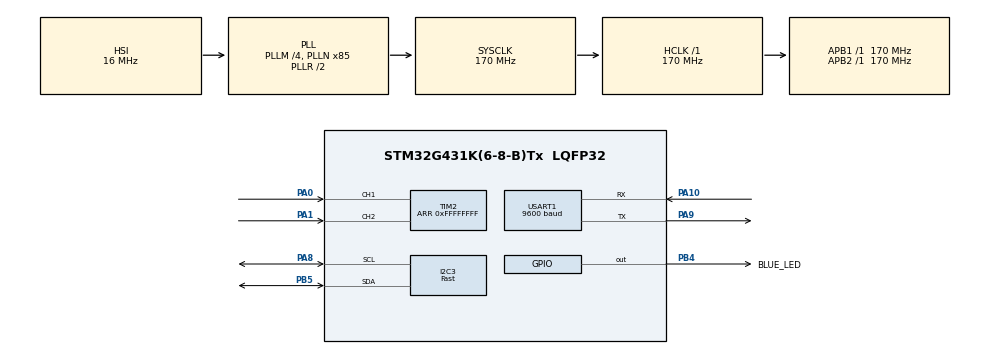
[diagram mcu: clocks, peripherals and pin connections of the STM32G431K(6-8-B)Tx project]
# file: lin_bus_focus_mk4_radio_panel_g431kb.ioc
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Dma.Request0=USART1_RX
Dma.Request1=USART1_TX
Dma.USART1_RX.0.Direction=DMA_PERIPH_TO_MEMORY
Dma.USART1_RX.0.EventEnable=DISABLE
Dma.USART1_RX.0.Instance=DMA1_Channel1
Dma.USART1_RX.0.MemDataAlignment=DMA_MDATAALIGN_BYTE
Dma.USART1_RX.0.MemInc=DMA_MINC_ENABLE
Dma.USART1_RX.0.Mode=DMA_NORMAL
Dma.USART1_RX.0.PeriphDataAlignment=DMA_PDATAALIGN_BYTE
Dma.USART1_RX.0.PeriphInc=DMA_PINC_DISABLE
Dma.USART1_RX.0.Polarity=HAL_DMAMUX_REQ_GEN_RISING
Dma.USART1_RX.0.Priority=DMA_PRIORITY_LOW
Dma.USART1_RX.0.RequestNumber=1
Dma.USART1_RX.0.SignalID=NONE
Dma.USART1_RX.0.SyncEnable=DISABLE
Dma.USART1_RX.0.SyncPolarity=HAL_DMAMUX_SYNC_NO_EVENT
Dma.USART1_RX.0.SyncRequestNumber=1
Dma.USART1_RX.0.SyncSignalID=NONE
Dma.USART1_TX.1.Direction=DMA_MEMORY_TO_PERIPH
Dma.USART1_TX.1.EventEnable=DISABLE
Dma.USART1_TX.1.Instance=DMA1_Channel2
Dma.USART1_TX.1.MemDataAlignment=DMA_MDATAALIGN_BYTE
Dma.USART1_TX.1.MemInc=DMA_MINC_ENABLE
Dma.USART1_TX.1.Mode=DMA_NORMAL
Dma.USART1_TX.1.PeriphDataAlignment=DMA_PDATAALIGN_BYTE
Dma.USART1_TX.1.PeriphInc=DMA_PINC_DISABLE
Dma.USART1_TX.1.Polarity=HAL_DMAMUX_REQ_GEN_RISING
Dma.USART1_TX.1.Priority=DMA_PRIORITY_LOW
Dma.USART1_TX.1.RequestNumber=1
Dma.USART1_TX.1.SignalID=NONE
Dma.USART1_TX.1.SyncEnable=DISABLE
Dma.USART1_TX.1.SyncPolarity=HAL_DMAMUX_SYNC_NO_EVENT
Dma.USART1_TX.1.SyncRequestNumber=1
Dma.USART1_TX.1.SyncSignalID=NONE
I2C3.I2C_Speed_Mode=I2C_Fast
I2C3.Timing=0x40621236
Mcu.Family=STM32G4
Mcu.Name=STM32G431K(6-8-B)Tx
Mcu.Package=LQFP32
NUCLEO-G431KB.Bsp_Common_DEMO=true
NUCLEO-G431KB.LD2=false
NUCLEO-G431KB.VCP=true
NVIC.DMA1_Channel1_IRQn=true\:0\:0\:false\:false\:true\:false\:true\:true
NVIC.DMA1_Channel2_IRQn=true\:0\:0\:false\:false\:true\:false\:true\:true
NVIC.PriorityGroup=NVIC_PRIORITYGROUP_4
NVIC.TIM2_IRQn=true\:0\:0\:false\:false\:true\:true\:true\:true
NVIC.USART1_IRQn=true\:0\:0\:false\:false\:true\:true\:true\:true
PA0.Signal=S_TIM2_CH1
PA1.Signal=S_TIM2_CH2
PA10.GPIO_PuPd=GPIO_PULLUP
PA10.Mode=LIN
PA10.Signal=USART1_RX
PA13.GPIO_Label=T_SWDIO
PA13.Signal=SYS_JTMS-SWDIO
PA14.GPIO_Label=T_SWCLK
PA14.Signal=SYS_JTCK-SWCLK
PA2.Signal=USART2_TX
PA3.Signal=USART2_RX
PA8.Mode=I2C
PA8.Signal=I2C3_SCL
PA9.Mode=LIN
PA9.Signal=USART1_TX
PB3.GPIO_Label=T_SWO
PB3.Signal=SYS_JTDO-SWO
PB4.GPIO_Label=BLUE_LED
PB4.Signal=GPIO_Output
PB5.Mode=I2C
PB5.Signal=I2C3_SDA
ProjectManager.HeapSize=0x200
ProjectManager.StackSize=0x400
ProjectManager.TargetToolchain=STM32CubeIDE
RCC.ADC12Freq_Value=170000000
RCC.AHBFreq_Value=170000000
RCC.APB1Freq_Value=170000000
RCC.APB1TimFreq_Value=170000000
RCC.APB2Freq_Value=170000000
RCC.APB2TimFreq_Value=170000000
RCC.CortexFreq_Value=170000000
RCC.EXTERNAL_CLOCK_VALUE=12288000
RCC.HCLKFreq_Value=170000000
RCC.HSE_VALUE=8000000
RCC.HSI48_VALUE=48000000
RCC.HSI_VALUE=16000000
RCC.LSE_VALUE=32768
RCC.PLLM=RCC_PLLM_DIV4
RCC.PLLN=85
RCC.SYSCLKFreq_VALUE=170000000
RCC.SYSCLKSource=RCC_SYSCLKSOURCE_PLLCLK
RCC.USBFreq_Value=170000000
RCC.VCOOutputFreq_Value=340000000
SH.S_TIM2_CH1.0=TIM2_CH1,Encoder_Interface
SH.S_TIM2_CH2.0=TIM2_CH2,Encoder_Interface
TIM2.CounterMode=TIM_COUNTERMODE_UP
TIM2.EncoderMode=TIM_ENCODERMODE_TI12
TIM2.IC1Filter=15
TIM2.IC2Filter=15
TIM2.PeriodNoDither=0xFFFFFFFF
USART1.BaudRate=9600
USART1.BreakDetectLength=UART_LINBREAKDETECTLENGTH_11B
USART1.VirtualMode-LIN=VM_LIN
VP_NUCLEO-G431KB_VS_BSP_COMMON.Mode=COMMON
VP_SYS_VS_DBSignals.Mode=DisableDeadBatterySignals
board=NUCLEO-G431KB

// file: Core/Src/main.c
/* USER CODE BEGIN Header */
/**
 ******************************************************************************
 * @file           : main.c
 * @brief          : Main program body
 ******************************************************************************
 * @attention
 *
 * Copyright (c) 2025 STMicroelectronics.
 * All rights reserved.
 *
 * This software is licensed under terms that can be found in the LICENSE file
 * in the root directory of this software component.
 * If no LICENSE file comes with this software, it is provided AS-IS.
 *
 ******************************************************************************
 */
/* USER CODE END Header */
#include "main.h"
#include "dma.h"
#include "i2c.h"
#include "tim.h"
#include "usart.h"
#include "gpio.h"

/* USER CODE BEGIN Includes */
#include <stdbool.h>
#include <stddef.h>
#include <stdio.h>
#include <stdlib.h>
#include <string.h>

#include "ssd1306.h"

// https://github.com/nayuki/QR-Code-generator
// https://www.nayuki.io/page/qr-code-generator-library
#include "qrcodegen.h"
/* USER CODE END Includes */

/* USER CODE BEGIN PD */
#define LIN_SEND_PERIOD 50
#define TX_BUFFER_SIZE 6
#define RX_BUFFER_SIZE_A 12
#define RX_BUFFER_SIZE_B 12
#define RX_BUFFER_SIZE_C 12
#define RX_BUFFER_SIZE_D 12

#define TX_LIN_MSG_ID 0x01 // backlight brightness
#define RX_LIN_MSG_ID_A 0x00 // buttons and knobs (repeated?)
#define RX_LIN_MSG_ID_B 0x02 // buttons and knobs
#define RX_LIN_MSG_ID_C 0x04 // counters
#define RX_LIN_MSG_ID_D 0x05 // diagnostics(?)
#define NUMBER_OF_RX_MSGS 4

#define ENC_KNOB_CNT_MIN 0
#define ENC_KNOB_CNT_MAX (255 * 4)

#define UART_SEND_PERIOD 500
#define OLED_UPDATE_PERIOD 250

#define BYTE_TO_BINARY_PATTERN "%c%c%c%c%c%c%c%c"
#define BYTE_TO_BINARY(byte)  \
  ((byte) & 0x80 ? '1' : '0'), \
  ((byte) & 0x40 ? '1' : '0'), \
  ((byte) & 0x20 ? '1' : '0'), \
  ((byte) & 0x10 ? '1' : '0'), \
  ((byte) & 0x08 ? '1' : '0'), \
  ((byte) & 0x04 ? '1' : '0'), \
  ((byte) & 0x02 ? '1' : '0'), \
  ((byte) & 0x01 ? '1' : '0')

/* USER CODE END PD */

COM_InitTypeDef BspCOMInit;

/* USER CODE BEGIN PV */
uint8_t txData[TX_BUFFER_SIZE];
uint8_t rxDataA[RX_BUFFER_SIZE_A];
uint8_t rxDataB[RX_BUFFER_SIZE_B];
uint8_t rxDataBbis[RX_BUFFER_SIZE_B];
uint8_t rxDataC[RX_BUFFER_SIZE_C];
uint8_t rxDataD[RX_BUFFER_SIZE_D];

uint32_t LinSendSoftTimer;

volatile uint8_t lin_data_received_flag = 0;
uint8_t rx_msg_index = 0;

extern DMA_HandleTypeDef hdma_usart1_rx;

char lcd_line[64];
uint8_t backlight_intensity = 0xFF;

uint32_t UartMsgSoftTimer;
uint32_t OledSoftTimer;

/* USER CODE END PV */

void SystemClock_Config(void);
/* USER CODE BEGIN PFP */

// https://controllerstech.com/stm32-uart-8-lin-protocol-part-1/
// https://controllerstech.com/stm32-uart-9-lin-protocol-part-2/
// https://controllerstech.com/stm32-uart-10-lin-protocol-part-3/
uint8_t Pid_Calc(uint8_t ID);
uint8_t Checksum_Calc(uint8_t PID, uint8_t *data, uint8_t size);

static void showPartDatasheet(void);
static void printQr(const uint8_t qrcode[]);
static void displayQr(const uint8_t qrcode[]);

/* USER CODE END PFP */

int main(void)
{

	/* MCU Configuration--------------------------------------------------------*/

	/* Reset of all peripherals, Initializes the Flash interface and the Systick. */
	HAL_Init();

	/* Configure the system clock */
	SystemClock_Config();

	/* Initialize all configured peripherals */
	MX_GPIO_Init();
	MX_DMA_Init();
	MX_USART1_UART_Init();
	MX_TIM2_Init();
	MX_I2C3_Init();
	/* USER CODE BEGIN 2 */

	HAL_TIM_Encoder_Start_IT(&htim2, TIM_CHANNEL_ALL);
	__HAL_TIM_SET_COUNTER(&htim2, ENC_KNOB_CNT_MAX);

	/* USER CODE END 2 */

	/* Initialize COM1 port (115200, 8 bits (7-bit data + 1 stop bit), no parity */
	BspCOMInit.BaudRate = 115200;
	BspCOMInit.WordLength = COM_WORDLENGTH_8B;
	BspCOMInit.StopBits = COM_STOPBITS_1;
	BspCOMInit.Parity = COM_PARITY_NONE;
	BspCOMInit.HwFlowCtl = COM_HWCONTROL_NONE;
	if (BSP_COM_Init(COM1, &BspCOMInit) != BSP_ERROR_NONE)
	{
		Error_Handler();
	}

	/* USER CODE BEGIN BSP */
	ssd1306_Init();

	showPartDatasheet();
	HAL_Delay(1000);

	ssd1306_Fill(Black);
	ssd1306_SetCursor(20, 0);
	ssd1306_WriteString("ufnalski.edu.pl", Font_6x8, White);
	ssd1306_SetCursor(22, 11);
	ssd1306_WriteString("Ford Focus Mk4", Font_6x8, White);
	ssd1306_SetCursor(12, 22);
	ssd1306_WriteString("radio panel (2020)", Font_6x8, White);
	ssd1306_UpdateScreen();

	/* -- Sample board code to send message over COM1 port ---- */
	printf("\r\nWelcome to LIN bus world!\r\n");

	/* USER CODE END BSP */

	/* Infinite loop */
	/* USER CODE BEGIN WHILE */
	LinSendSoftTimer = HAL_GetTick();
	UartMsgSoftTimer = HAL_GetTick();
	OledSoftTimer = HAL_GetTick();

	while (1)
	{

		if ((HAL_GetTick() - UartMsgSoftTimer > UART_SEND_PERIOD)
				&& (lin_data_received_flag == 1))
		{
			lin_data_received_flag = 0;
			UartMsgSoftTimer = HAL_GetTick();
			printf("\x1B[2J\x1B[H");

			printf("\e[36m╔══════════════════════════════════╗\e[37m\r\n");
			printf(
					"\e[36m║ TX: [%02d] %02X %02X %02X                \e[36m║\e[37m\r\n",
					TX_LIN_MSG_ID, txData[2], txData[3], txData[4]);
			printf(
					"\e[36m║ RX: [%02d] %02X %02X %02X %02X %02X %02X %02X %02X \e[36m║\e[37m\r\n",
					RX_LIN_MSG_ID_A, rxDataA[3], rxDataA[4], rxDataA[5],
					rxDataA[6], rxDataA[7], rxDataA[8], rxDataA[9],
					rxDataA[10]);
			printf(
					"\e[36m║ RX: [%02d] %02X %02X %02X %02X %02X %02X %02X %02X \e[36m║\e[37m\r\n",
					RX_LIN_MSG_ID_B, rxDataB[3], rxDataB[4], rxDataB[5],
					rxDataB[6], rxDataB[7], rxDataB[8], rxDataB[9],
					rxDataB[10]);
			printf(
					"\e[36m║ RX: [%02d] %02X %02X %02X %02X %02X %02X %02X %02X \e[36m║\e[37m\r\n",
					RX_LIN_MSG_ID_C, rxDataC[3], rxDataC[4], rxDataC[5],
					rxDataC[6], rxDataC[7], rxDataC[8], rxDataC[9],
					rxDataC[10]);
			printf(
					"\e[36m║ RX: [%02d] %02X %02X %02X %02X %02X %02X %02X %02X \e[36m║\e[37m\r\n",
					RX_LIN_MSG_ID_D, rxDataD[3], rxDataD[4], rxDataD[5],
					rxDataD[6], rxDataD[7], rxDataD[8], rxDataD[9],
					rxDataD[10]);
			printf("\e[36m╚══════════════════════════════════╝\e[37m\r\n");

		}

		if (HAL_GetTick() - LinSendSoftTimer > LIN_SEND_PERIOD)
		{
			LinSendSoftTimer = HAL_GetTick();

			backlight_intensity = __HAL_TIM_GET_COUNTER(&htim2) / 4;

			// send backlight
			txData[0] = 0x55;  // sync field
			txData[1] = Pid_Calc(TX_LIN_MSG_ID);
			txData[2] = backlight_intensity; // haven't tested it precisely :)
			txData[3] = backlight_intensity;
			txData[4] = backlight_intensity;
			txData[5] = Checksum_Calc(txData[1], txData + 2, 3); // LIN 2.x includes PID
			HAL_LIN_SendBreak(&huart1);
			HAL_UART_Transmit(&huart1, txData, 6, 10);

			HAL_Delay(10);
			// ask for diagnostics
			txData[0] = 0x55;

			switch (rx_msg_index)
			{
			case 0:
				txData[1] = Pid_Calc(RX_LIN_MSG_ID_A);
				memset(rxDataA, 0x00, RX_BUFFER_SIZE_A);
				HAL_UARTEx_ReceiveToIdle_DMA(&huart1, rxDataA,
				RX_BUFFER_SIZE_A);
				break;
			case 1:
				txData[1] = Pid_Calc(RX_LIN_MSG_ID_B);
				memcpy(rxDataBbis, rxDataB, RX_BUFFER_SIZE_B);
				memset(rxDataB, 0x00, RX_BUFFER_SIZE_B);
				HAL_UARTEx_ReceiveToIdle_DMA(&huart1, rxDataB,
				RX_BUFFER_SIZE_B);
				break;
			case 2:
				txData[1] = Pid_Calc(RX_LIN_MSG_ID_C);
				memset(rxDataC, 0x00, RX_BUFFER_SIZE_C);
				HAL_UARTEx_ReceiveToIdle_DMA(&huart1, rxDataC,
				RX_BUFFER_SIZE_C);
				break;
			case 3:
				txData[1] = Pid_Calc(RX_LIN_MSG_ID_D);
				memset(rxDataD, 0x00, RX_BUFFER_SIZE_D);
				HAL_UARTEx_ReceiveToIdle_DMA(&huart1, rxDataD,
				RX_BUFFER_SIZE_D);
				break;
			default:
				__NOP();
			}

			__HAL_DMA_DISABLE_IT(&hdma_usart1_rx, DMA_IT_HT);
			rx_msg_index++;
			rx_msg_index %= NUMBER_OF_RX_MSGS;

			HAL_LIN_SendBreak(&huart1);
			HAL_UART_Transmit_DMA(&huart1, txData, 2);
		}

		if (HAL_GetTick() - OledSoftTimer > OLED_UPDATE_PERIOD)
		{
			lin_data_received_flag = 0;
			OledSoftTimer = HAL_GetTick();
			sprintf(lcd_line, "T: 0b"BYTE_TO_BINARY_PATTERN" %02X %02X",
					BYTE_TO_BINARY(txData[2]), txData[3], txData[4]);
			ssd1306_SetCursor(2, 33);
			ssd1306_WriteString(lcd_line, Font_6x8, White);
			ssd1306_SetCursor(2, 44);
			sprintf(lcd_line, "R: %02X%02X%02X%02X %02X%02X%02X%02X",
					rxDataBbis[3], rxDataBbis[4], rxDataBbis[5], rxDataBbis[6],
					rxDataBbis[7], rxDataBbis[8], rxDataBbis[9],
					rxDataBbis[10]);
			ssd1306_WriteString(lcd_line, Font_6x8, White);
			ssd1306_SetCursor(2, 55);
			// undervoltage warning
			if (rxDataBbis[3] == 0x04)
			{
				ssd1306_WriteString("Low voltage warning!", Font_6x8, White);
			}
			else
			{
				ssd1306_WriteString("Voltage OK :)         ", Font_6x8, White);
			}
			ssd1306_UpdateScreen();
		}

		/* USER CODE END WHILE */

	}
}

void SystemClock_Config(void)
{
	RCC_OscInitTypeDef RCC_OscInitStruct =
	{ 0 };
	RCC_ClkInitTypeDef RCC_ClkInitStruct =
	{ 0 };

	/** Configure the main internal regulator output voltage
	 */
	HAL_PWREx_ControlVoltageScaling(PWR_REGULATOR_VOLTAGE_SCALE1_BOOST);

	/** Initializes the RCC Oscillators according to the specified parameters
	 * in the RCC_OscInitTypeDef structure.
	 */
	RCC_OscInitStruct.OscillatorType = RCC_OSCILLATORTYPE_HSI;
	RCC_OscInitStruct.HSIState = RCC_HSI_ON;
	RCC_OscInitStruct.HSICalibrationValue = RCC_HSICALIBRATION_DEFAULT;
	RCC_OscInitStruct.PLL.PLLState = RCC_PLL_ON;
	RCC_OscInitStruct.PLL.PLLSource = RCC_PLLSOURCE_HSI;
	RCC_OscInitStruct.PLL.PLLM = RCC_PLLM_DIV4;
	RCC_OscInitStruct.PLL.PLLN = 85;
	RCC_OscInitStruct.PLL.PLLP = RCC_PLLP_DIV2;
	RCC_OscInitStruct.PLL.PLLQ = RCC_PLLQ_DIV2;
	RCC_OscInitStruct.PLL.PLLR = RCC_PLLR_DIV2;
	if (HAL_RCC_OscConfig(&RCC_OscInitStruct) != HAL_OK)
	{
		Error_Handler();
	}

	/** Initializes the CPU, AHB and APB buses clocks
	 */
	RCC_ClkInitStruct.ClockType = RCC_CLOCKTYPE_HCLK | RCC_CLOCKTYPE_SYSCLK
			| RCC_CLOCKTYPE_PCLK1 | RCC_CLOCKTYPE_PCLK2;
	RCC_ClkInitStruct.SYSCLKSource = RCC_SYSCLKSOURCE_PLLCLK;
	RCC_ClkInitStruct.AHBCLKDivider = RCC_SYSCLK_DIV1;
	RCC_ClkInitStruct.APB1CLKDivider = RCC_HCLK_DIV1;
	RCC_ClkInitStruct.APB2CLKDivider = RCC_HCLK_DIV1;

	if (HAL_RCC_ClockConfig(&RCC_ClkInitStruct, FLASH_LATENCY_4) != HAL_OK)
	{
		Error_Handler();
	}
}

/* USER CODE BEGIN 4 */
void HAL_UART_RxCpltCallback(UART_HandleTypeDef *huart)
{
	if (huart->Instance == USART1)
	{
		lin_data_received_flag = 1;
		if (rx_msg_index % NUMBER_OF_RX_MSGS == 0)
		{
			HAL_GPIO_TogglePin(BLUE_LED_GPIO_Port, BLUE_LED_Pin);
		}
	}
}

void HAL_TIM_IC_CaptureCallback(TIM_HandleTypeDef *htim)
{

	if (htim->Instance == TIM2)
	{
		if ((__HAL_TIM_GET_COUNTER(&htim2) < ENC_KNOB_CNT_MIN)
				|| (__HAL_TIM_GET_COUNTER(&htim2) > ENC_KNOB_CNT_MAX * 2))
		{
			__HAL_TIM_SET_COUNTER(&htim2, ENC_KNOB_CNT_MIN);
		}
		else if (__HAL_TIM_GET_COUNTER(&htim2) > ENC_KNOB_CNT_MAX)
		{
			__HAL_TIM_SET_COUNTER(&htim2, ENC_KNOB_CNT_MAX);
		}
	}

}

uint8_t Pid_Calc(uint8_t ID)
{
	if (ID > 0x3F)
		Error_Handler();
	uint8_t IDBuf[6];
	for (int i = 0; i < 6; i++)
	{
		IDBuf[i] = (ID >> i) & 0x01;
	}

	uint8_t P0 = (IDBuf[0] ^ IDBuf[1] ^ IDBuf[2] ^ IDBuf[4]) & 0x01;
	uint8_t P1 = ~((IDBuf[1] ^ IDBuf[3] ^ IDBuf[4] ^ IDBuf[5]) & 0x01);

	ID = ID | (P0 << 6) | (P1 << 7);
	return ID;
}

uint8_t Checksum_Calc(uint8_t PID, uint8_t *data, uint8_t size)
{
	uint8_t buffer[size + 2];
	uint16_t sum = 0;
	buffer[0] = PID;
	for (int i = 0; i < size; i++)
	{
		buffer[i + 1] = data[i];
	}

	for (int i = 0; i < size + 1; i++)
	{
		sum = sum + buffer[i];
		if (sum > 0xff)
			sum = sum - 0xff;
	}

	sum = 0xff - sum;
	return sum;
}

static void showPartDatasheet(void)
{
	//const char *text = "Enjoy your life. There is no second take on it.";
	const char *text = "https://allegro.pl/listing?string=JX7T-18K811-CC";
	enum qrcodegen_Ecc errCorLvl = qrcodegen_Ecc_LOW;  // Error correction level

	// Make and print the QR Code symbol
	uint8_t qrcode[qrcodegen_BUFFER_LEN_MAX];
	uint8_t tempBuffer[qrcodegen_BUFFER_LEN_MAX];
	bool ok = qrcodegen_encodeText(text, tempBuffer, qrcode, errCorLvl,
	qrcodegen_VERSION_MIN, qrcodegen_VERSION_MAX, qrcodegen_Mask_AUTO, true);
	if (ok)
		printQr(qrcode);
	displayQr(qrcode);

}

static void printQr(const uint8_t qrcode[])
{
	int size = qrcodegen_getSize(qrcode);
	int border = 4;
	for (int y = -border; y < size + border; y++)
	{
		for (int x = -border; x < size + border; x++)
		{
			printf("%s", qrcodegen_getModule(qrcode, x, y) ? "##" : "  ");
		}
		printf("\r\n");
	}
	printf("\r\n");
}

static void displayQr(const uint8_t qrcode[])
{
	int size = qrcodegen_getSize(qrcode);
	int border = 0;
	ssd1306_Fill(Black);
	for (int y = -border; y < size + border; y++)
	{
		for (int x = -border; x < size + border; x++)
		{
			if (qrcodegen_getModule(qrcode, x, y) == 1)
			{
				ssd1306_DrawPixel(2 * x + 40, 2 * y, White);
				ssd1306_DrawPixel(2 * x + 1 + 40, 2 * y + 1, White);
				ssd1306_DrawPixel(2 * x + 40, 2 * y + 1, White);
				ssd1306_DrawPixel(2 * x + 1 + 40, 2 * y, White);

				//ssd1306_FillRectangle(x, y, x+1, y+1,White);
			}
			//	printf("%s",qrcodegen_getModule(qrcode, x, y) ? "##" : "  ");
		}
		//	printf("\r\n");
	}
//	printf("\r\n");
	ssd1306_UpdateScreen();
}
/* USER CODE END 4 */

/* USER CODE BEGIN Header */
/**
 ******************************************************************************
 * @file           : main.c
 * @brief          : Main program body
 ******************************************************************************
 * @attention
 *
 * Copyright (c) 2025 STMicroelectronics.
 * All rights reserved.
 *
 * This software is licensed under terms that can be found in the LICENSE file
 * in the root directory of this software component.
 * If no LICENSE file comes with this software, it is provided AS-IS.
 *
 ******************************************************************************
 */
/* USER CODE END Header */

void Error_Handler(void)
{
	__disable_irq();
	while (1)
	{
	}
}
